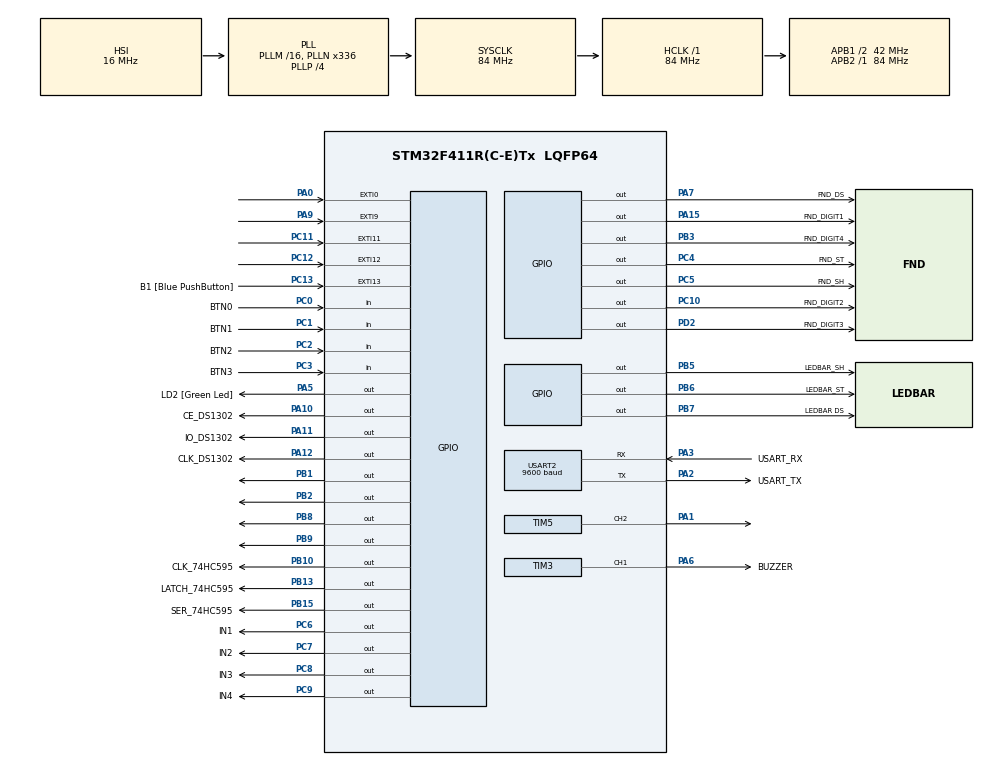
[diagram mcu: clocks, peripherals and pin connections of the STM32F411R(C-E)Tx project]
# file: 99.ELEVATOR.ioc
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FREERTOS.Mutexes01=myMutex01,Dynamic,NULL,Available
FREERTOS.Tasks01=defaultTask,24,128,StartDefaultTask,Default,NULL,Dynamic,NULL,NULL;myTask02,8,128,StartTask02,Default,NULL,Dynamic,NULL,NULL;myTask03,8,128,StartTask03,Default,NULL,Dynamic,NULL,NULL;myTask04,8,128,StartTask04,Default,NULL,Dynamic,NULL,NULL
FREERTOS.configUSE_NEWLIB_REENTRANT=1
Mcu.Family=STM32F4
Mcu.Name=STM32F411R(C-E)Tx
Mcu.Package=LQFP64
NVIC.EXTI0_IRQn=true\:5\:0\:false\:false\:true\:true\:true\:true\:true
NVIC.EXTI15_10_IRQn=true\:5\:0\:false\:false\:true\:true\:true\:true\:true
NVIC.EXTI9_5_IRQn=true\:5\:0\:false\:false\:true\:true\:true\:true\:true
NVIC.PriorityGroup=NVIC_PRIORITYGROUP_4
NVIC.TIM1_TRG_COM_TIM11_IRQn=true\:5\:0\:false\:false\:true\:true\:true\:true\:true
NVIC.TIM1_UP_TIM10_IRQn=true\:15\:0\:false\:false\:true\:false\:false\:true\:true
NVIC.TIM3_IRQn=true\:5\:0\:false\:false\:true\:true\:true\:true\:true
NVIC.TIM5_IRQn=true\:5\:0\:false\:false\:true\:true\:true\:true\:true
NVIC.TimeBase=TIM1_UP_TIM10_IRQn
NVIC.TimeBaseIP=TIM10
NVIC.USART2_IRQn=true\:5\:0\:false\:false\:true\:true\:true\:true\:true
PA0-WKUP.GPIO_ModeDefaultEXTI=GPIO_MODE_IT_RISING
PA0-WKUP.GPIO_PuPd=GPIO_PULLDOWN
PA0-WKUP.Signal=GPXTI0
PA1.Signal=S_TIM5_CH2
PA10.GPIO_Label=CE_DS1302
PA10.Signal=GPIO_Output
PA11.GPIO_Label=IO_DS1302
PA11.Signal=GPIO_Output
PA12.GPIO_Label=CLK_DS1302
PA12.Signal=GPIO_Output
PA13.GPIO_Label=TMS
PA13.Mode=Serial_Wire
PA13.Signal=SYS_JTMS-SWDIO
PA14.GPIO_Label=TCK
PA14.Mode=Serial_Wire
PA14.Signal=SYS_JTCK-SWCLK
PA15.GPIO_Label=FND_DIGIT1
PA15.Signal=GPIO_Output
PA2.GPIO_Label=USART_TX
PA2.Mode=Asynchronous
PA2.Signal=USART2_TX
PA3.GPIO_Label=USART_RX
PA3.Mode=Asynchronous
PA3.Signal=USART2_RX
PA5.GPIO_Label=LD2 [Green Led]
PA5.Signal=GPIO_Output
PA6.GPIO_Label=BUZZER
PA6.Signal=S_TIM3_CH1
PA7.GPIO_Label=FND_DS
PA7.Signal=GPIO_Output
PA9.GPIO_ModeDefaultEXTI=GPIO_MODE_IT_RISING
PA9.GPIO_PuPd=GPIO_PULLDOWN
PA9.Signal=GPXTI9
PB1.Signal=GPIO_Output
PB10.GPIO_Label=CLK_74HC595
PB10.Signal=GPIO_Output
PB13.GPIO_Label=LATCH_74HC595
PB13.Signal=GPIO_Output
PB15.GPIO_Label=SER_74HC595
PB15.Signal=GPIO_Output
PB2.Signal=GPIO_Output
PB3.GPIO_Label=FND_DIGIT4
PB3.Signal=GPIO_Output
PB5.GPIO_Label=LEDBAR_SH
PB5.Signal=GPIO_Output
PB6.GPIO_Label=LEDBAR_ST
PB6.Signal=GPIO_Output
PB7.GPIO_Label=LEDBAR DS
PB7.Signal=GPIO_Output
PB8.Signal=GPIO_Output
PB9.Signal=GPIO_Output
PC0.GPIO_Label=BTN0
PC0.Signal=GPIO_Input
PC1.GPIO_Label=BTN1
PC1.Signal=GPIO_Input
PC10.GPIO_Label=FND_DIGIT2
PC10.Signal=GPIO_Output
PC11.GPIO_PuPd=GPIO_PULLDOWN
PC11.Signal=GPXTI11
PC12.GPIO_PuPd=GPIO_PULLDOWN
PC12.Signal=GPXTI12
PC13-ANTI_TAMP.GPIO_Label=B1 [Blue PushButton]
PC13-ANTI_TAMP.GPIO_ModeDefaultEXTI=GPIO_MODE_IT_RISING
PC13-ANTI_TAMP.GPIO_PuPd=GPIO_PULLDOWN
PC13-ANTI_TAMP.Signal=GPXTI13
PC14-OSC32_IN.Mode=LSE-External-Oscillator
PC14-OSC32_IN.Signal=RCC_OSC32_IN
PC15-OSC32_OUT.Mode=LSE-External-Oscillator
PC15-OSC32_OUT.Signal=RCC_OSC32_OUT
PC2.GPIO_Label=BTN2
PC2.Signal=GPIO_Input
PC3.GPIO_Label=BTN3
PC3.Signal=GPIO_Input
PC4.GPIO_Label=FND_ST
PC4.Signal=GPIO_Output
PC5.GPIO_Label=FND_SH
PC5.Signal=GPIO_Output
PC6.GPIO_Label=IN1
PC6.Signal=GPIO_Output
PC7.GPIO_Label=IN2
PC7.Signal=GPIO_Output
PC8.GPIO_Label=IN3
PC8.Signal=GPIO_Output
PC9.GPIO_Label=IN4
PC9.Signal=GPIO_Output
PD2.GPIO_Label=FND_DIGIT3
PD2.Signal=GPIO_Output
PH0\ -\ OSC_IN.Mode=HSE-External-Clock-Source
PH0\ -\ OSC_IN.Signal=RCC_OSC_IN
PH1\ -\ OSC_OUT.Mode=HSE-External-Clock-Source
PH1\ -\ OSC_OUT.Signal=RCC_OSC_OUT
ProjectManager.HeapSize=0x200
ProjectManager.StackSize=0x400
ProjectManager.TargetToolchain=STM32CubeIDE
RCC.48MHZClocksFreq_Value=84000000
RCC.AHBFreq_Value=84000000
RCC.APB1CLKDivider=RCC_HCLK_DIV2
RCC.APB1Freq_Value=42000000
RCC.APB1TimFreq_Value=84000000
RCC.APB2Freq_Value=84000000
RCC.APB2TimFreq_Value=84000000
RCC.CortexFreq_Value=84000000
RCC.FLatency-AdvancedSettings=FLASH_LATENCY_2
RCC.HCLKFreq_Value=84000000
RCC.HSE_VALUE=8000000
RCC.HSI_VALUE=16000000
RCC.PLLN=336
RCC.PLLP=RCC_PLLP_DIV4
RCC.SYSCLKFreq_VALUE=84000000
RCC.SYSCLKSource=RCC_SYSCLKSOURCE_PLLCLK
RCC.VCOOutputFreq_Value=336000000
SH.S_TIM3_CH1.0=TIM3_CH1,PWM Generation1 CH1
SH.S_TIM5_CH2.0=TIM5_CH2,PWM Generation2 CH2
TIM11.Period=1000-1
TIM11.Prescaler=84-1
TIM2.Prescaler=84-1
TIM3.Channel-PWM\ Generation1\ CH1=TIM_CHANNEL_1
TIM3.Period=400-1
TIM3.Prescaler=52.5-1
TIM3.Pulse-PWM\ Generation1\ CH1=200-1
TIM5.Channel-PWM\ Generation2\ CH2=TIM_CHANNEL_2
TIM5.Period=1000-1
TIM5.Prescaler=1680-1
USART2.BaudRate=9600
USART2.VirtualMode=VM_ASYNC
VP_FREERTOS_VS_CMSIS_V2.Mode=CMSIS_V2
VP_SYS_VS_tim10.Mode=TIM10
VP_TIM11_VS_ClockSourceINT.Mode=Enable_Timer
VP_TIM2_VS_ClockSourceINT.Mode=Internal
VP_TIM3_VS_ClockSourceINT.Mode=Internal
VP_TIM5_VS_ClockSourceINT.Mode=Internal
board=NUCLEO-F411RE

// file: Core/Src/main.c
/* USER CODE BEGIN Header */
/**
  ******************************************************************************
  * @file           : main.c
  * @brief          : Main program body
  ******************************************************************************
  * @attention
  *
  * Copyright (c) 2025 STMicroelectronics.
  * All rights reserved.
  *
  * This software is licensed under terms that can be found in the LICENSE file
  * in the root directory of this software component.
  * If no LICENSE file comes with this software, it is provided AS-IS.
  *
  ******************************************************************************
  */
/* USER CODE END Header */
#include "main.h"
#include "cmsis_os.h"

/* USER CODE BEGIN Includes */

#include "extern.h"

#include "elevator.h"

#include "led.h"
#include "dotmatrix.h"
#include "button.h"
#include "ds1302.h"
#include "dh11.h"
#include "i2c_lcd.h"
#include "stepmotor.h"
#include "fnd.h"
#include "buzzer.h"

/* USER CODE END Includes */

TIM_HandleTypeDef htim2;
TIM_HandleTypeDef htim3;
TIM_HandleTypeDef htim5;
TIM_HandleTypeDef htim11;

UART_HandleTypeDef huart2;

/* Definitions for defaultTask */
osThreadId_t defaultTaskHandle;
const osThreadAttr_t defaultTask_attributes = {
  .name = "defaultTask",
  .stack_size = 128 * 4,
  .priority = (osPriority_t) osPriorityNormal,
};
/* Definitions for myTask02 */
osThreadId_t myTask02Handle;
const osThreadAttr_t myTask02_attributes = {
  .name = "myTask02",
  .stack_size = 128 * 4,
  .priority = (osPriority_t) osPriorityLow,
};
/* Definitions for myTask03 */
osThreadId_t myTask03Handle;
const osThreadAttr_t myTask03_attributes = {
  .name = "myTask03",
  .stack_size = 128 * 4,
  .priority = (osPriority_t) osPriorityLow,
};
/* Definitions for myTask04 */
osThreadId_t myTask04Handle;
const osThreadAttr_t myTask04_attributes = {
  .name = "myTask04",
  .stack_size = 128 * 4,
  .priority = (osPriority_t) osPriorityLow,
};
/* Definitions for myMutex01 */
osMutexId_t myMutex01Handle;
const osMutexAttr_t myMutex01_attributes = {
  .name = "myMutex01"
};
/* USER CODE BEGIN PV */

uint8_t rx_data; // uart2 rx byte

volatile int TIM11_1ms_counter;

volatile int TIM11_1ms_delay_counter[MODULE_MAX];

// todo temp
volatile int TIM11_line0;
volatile int TIM11_line1;

/* USER CODE END PV */

void SystemClock_Config(void);
static void MX_GPIO_Init(void);
static void MX_USART2_UART_Init(void);
static void MX_TIM11_Init(void);
static void MX_TIM2_Init(void);
static void MX_TIM3_Init(void);
static void MX_TIM5_Init(void);
void StartDefaultTask(void *argument);
void StartTask02(void *argument);
void StartTask03(void *argument);
void StartTask04(void *argument);

/* USER CODE BEGIN 0 */
#ifdef __GNUC__    // Add for printf
/* With GCC, small printf (option LD Linker->Libraries->Small printf
   set to 'Yes') calls __io_putchar() */
#define PUTCHAR_PROTOTYPE int __io_putchar(int ch)
#else
#define PUTCHAR_PROTOTYPE int fputc(int ch, FILE *f)
#endif /* __GNUC__ */
/**
  * @brief  Retargets the C library printf function to the USART.
  * @param  None
  * @retval None
  */
PUTCHAR_PROTOTYPE   // Add for printf
{
  /* Place your implementation of fputc here */
  /* e.g. write a character to the USART3 and Loop until the end of transmission */
  HAL_UART_Transmit(&huart2, (uint8_t *)&ch, 1, 0xFFFF);

  return ch;
}

/* USER CODE END 0 */

int main(void)
{

  /* MCU Configuration--------------------------------------------------------*/

  /* Reset of all peripherals, Initializes the Flash interface and the Systick. */
  HAL_Init();

  /* Configure the system clock */
  SystemClock_Config();

  /* Initialize all configured peripherals */
  MX_GPIO_Init();
  MX_USART2_UART_Init();
  MX_TIM11_Init();
  MX_TIM2_Init();
  MX_TIM3_Init();
  MX_TIM5_Init();
  /* USER CODE BEGIN 2 */

  buzzer_init();
  ledbar_init();
  button_init();
  elevator_init();
  fnd_init();
  init_ds1302();
  //init_dht11();
  init_dotmatrix_pin();

  HAL_UART_Receive_IT(&huart2, &rx_data, 1); // receive a time one byte
  HAL_TIM_Base_Start_IT(&htim11);
  HAL_TIM_Base_Start_IT(&htim2); //timer 2 start for delay_us

  i2c_lcd_init();
  //buzzer_main();
  //stepmotor_main();
  //servo_motor_main();
  //i2c_lcd_main();
  //ds1302_main();
  //dh11_main();

  /* USER CODE END 2 */

  /* Init scheduler */
  osKernelInitialize();
  /* Create the mutex(es) */
  /* creation of myMutex01 */
  myMutex01Handle = osMutexNew(&myMutex01_attributes);

  /* Create the thread(s) */
  /* creation of defaultTask */
  defaultTaskHandle = osThreadNew(StartDefaultTask, NULL, &defaultTask_attributes);

  /* creation of myTask02 */
  myTask02Handle = osThreadNew(StartTask02, NULL, &myTask02_attributes);

  /* creation of myTask03 */
  myTask03Handle = osThreadNew(StartTask03, NULL, &myTask03_attributes);

  /* creation of myTask04 */
  myTask04Handle = osThreadNew(StartTask04, NULL, &myTask04_attributes);

  /* Start scheduler */
  osKernelStart();

  /* We should never get here as control is now taken by the scheduler */

  /* Infinite loop */
  while (1)
  {

  }
}

void SystemClock_Config(void)
{
  RCC_OscInitTypeDef RCC_OscInitStruct = {0};
  RCC_ClkInitTypeDef RCC_ClkInitStruct = {0};

  /** Configure the main internal regulator output voltage
  */
  __HAL_RCC_PWR_CLK_ENABLE();
  __HAL_PWR_VOLTAGESCALING_CONFIG(PWR_REGULATOR_VOLTAGE_SCALE1);

  /** Initializes the RCC Oscillators according to the specified parameters
  * in the RCC_OscInitTypeDef structure.
  */
  RCC_OscInitStruct.OscillatorType = RCC_OSCILLATORTYPE_HSI;
  RCC_OscInitStruct.HSIState = RCC_HSI_ON;
  RCC_OscInitStruct.HSICalibrationValue = RCC_HSICALIBRATION_DEFAULT;
  RCC_OscInitStruct.PLL.PLLState = RCC_PLL_ON;
  RCC_OscInitStruct.PLL.PLLSource = RCC_PLLSOURCE_HSI;
  RCC_OscInitStruct.PLL.PLLM = 16;
  RCC_OscInitStruct.PLL.PLLN = 336;
  RCC_OscInitStruct.PLL.PLLP = RCC_PLLP_DIV4;
  RCC_OscInitStruct.PLL.PLLQ = 4;
  if (HAL_RCC_OscConfig(&RCC_OscInitStruct) != HAL_OK)
  {
    Error_Handler();
  }

  /** Initializes the CPU, AHB and APB buses clocks
  */
  RCC_ClkInitStruct.ClockType = RCC_CLOCKTYPE_HCLK|RCC_CLOCKTYPE_SYSCLK
                              |RCC_CLOCKTYPE_PCLK1|RCC_CLOCKTYPE_PCLK2;
  RCC_ClkInitStruct.SYSCLKSource = RCC_SYSCLKSOURCE_PLLCLK;
  RCC_ClkInitStruct.AHBCLKDivider = RCC_SYSCLK_DIV1;
  RCC_ClkInitStruct.APB1CLKDivider = RCC_HCLK_DIV2;
  RCC_ClkInitStruct.APB2CLKDivider = RCC_HCLK_DIV1;

  if (HAL_RCC_ClockConfig(&RCC_ClkInitStruct, FLASH_LATENCY_2) != HAL_OK)
  {
    Error_Handler();
  }
}

static void MX_TIM2_Init(void)
{

  TIM_ClockConfigTypeDef sClockSourceConfig = {0};
  TIM_MasterConfigTypeDef sMasterConfig = {0};

  htim2.Instance = TIM2;
  htim2.Init.Prescaler = 84-1;
  htim2.Init.CounterMode = TIM_COUNTERMODE_UP;
  htim2.Init.Period = 4294967295;
  htim2.Init.ClockDivision = TIM_CLOCKDIVISION_DIV1;
  htim2.Init.AutoReloadPreload = TIM_AUTORELOAD_PRELOAD_DISABLE;
  if (HAL_TIM_Base_Init(&htim2) != HAL_OK)
  {
    Error_Handler();
  }
  sClockSourceConfig.ClockSource = TIM_CLOCKSOURCE_INTERNAL;
  if (HAL_TIM_ConfigClockSource(&htim2, &sClockSourceConfig) != HAL_OK)
  {
    Error_Handler();
  }
  sMasterConfig.MasterOutputTrigger = TIM_TRGO_RESET;
  sMasterConfig.MasterSlaveMode = TIM_MASTERSLAVEMODE_DISABLE;
  if (HAL_TIMEx_MasterConfigSynchronization(&htim2, &sMasterConfig) != HAL_OK)
  {
    Error_Handler();
  }

}

static void MX_TIM3_Init(void)
{

  TIM_ClockConfigTypeDef sClockSourceConfig = {0};
  TIM_MasterConfigTypeDef sMasterConfig = {0};
  TIM_OC_InitTypeDef sConfigOC = {0};

  htim3.Instance = TIM3;
  htim3.Init.Prescaler = 52.5-1;
  htim3.Init.CounterMode = TIM_COUNTERMODE_UP;
  htim3.Init.Period = 400-1;
  htim3.Init.ClockDivision = TIM_CLOCKDIVISION_DIV1;
  htim3.Init.AutoReloadPreload = TIM_AUTORELOAD_PRELOAD_DISABLE;
  if (HAL_TIM_Base_Init(&htim3) != HAL_OK)
  {
    Error_Handler();
  }
  sClockSourceConfig.ClockSource = TIM_CLOCKSOURCE_INTERNAL;
  if (HAL_TIM_ConfigClockSource(&htim3, &sClockSourceConfig) != HAL_OK)
  {
    Error_Handler();
  }
  if (HAL_TIM_PWM_Init(&htim3) != HAL_OK)
  {
    Error_Handler();
  }
  sMasterConfig.MasterOutputTrigger = TIM_TRGO_RESET;
  sMasterConfig.MasterSlaveMode = TIM_MASTERSLAVEMODE_DISABLE;
  if (HAL_TIMEx_MasterConfigSynchronization(&htim3, &sMasterConfig) != HAL_OK)
  {
    Error_Handler();
  }
  sConfigOC.OCMode = TIM_OCMODE_PWM1;
  sConfigOC.Pulse = 200-1;
  sConfigOC.OCPolarity = TIM_OCPOLARITY_HIGH;
  sConfigOC.OCFastMode = TIM_OCFAST_DISABLE;
  if (HAL_TIM_PWM_ConfigChannel(&htim3, &sConfigOC, TIM_CHANNEL_1) != HAL_OK)
  {
    Error_Handler();
  }
  HAL_TIM_MspPostInit(&htim3);

}

static void MX_TIM5_Init(void)
{

  TIM_ClockConfigTypeDef sClockSourceConfig = {0};
  TIM_MasterConfigTypeDef sMasterConfig = {0};
  TIM_OC_InitTypeDef sConfigOC = {0};

  htim5.Instance = TIM5;
  htim5.Init.Prescaler = 1680-1;
  htim5.Init.CounterMode = TIM_COUNTERMODE_UP;
  htim5.Init.Period = 1000-1;
  htim5.Init.ClockDivision = TIM_CLOCKDIVISION_DIV1;
  htim5.Init.AutoReloadPreload = TIM_AUTORELOAD_PRELOAD_DISABLE;
  if (HAL_TIM_Base_Init(&htim5) != HAL_OK)
  {
    Error_Handler();
  }
  sClockSourceConfig.ClockSource = TIM_CLOCKSOURCE_INTERNAL;
  if (HAL_TIM_ConfigClockSource(&htim5, &sClockSourceConfig) != HAL_OK)
  {
    Error_Handler();
  }
  if (HAL_TIM_PWM_Init(&htim5) != HAL_OK)
  {
    Error_Handler();
  }
  sMasterConfig.MasterOutputTrigger = TIM_TRGO_RESET;
  sMasterConfig.MasterSlaveMode = TIM_MASTERSLAVEMODE_DISABLE;
  if (HAL_TIMEx_MasterConfigSynchronization(&htim5, &sMasterConfig) != HAL_OK)
  {
    Error_Handler();
  }
  sConfigOC.OCMode = TIM_OCMODE_PWM1;
  sConfigOC.Pulse = 0;
  sConfigOC.OCPolarity = TIM_OCPOLARITY_HIGH;
  sConfigOC.OCFastMode = TIM_OCFAST_DISABLE;
  if (HAL_TIM_PWM_ConfigChannel(&htim5, &sConfigOC, TIM_CHANNEL_2) != HAL_OK)
  {
    Error_Handler();
  }
  HAL_TIM_MspPostInit(&htim5);

}

static void MX_TIM11_Init(void)
{

  htim11.Instance = TIM11;
  htim11.Init.Prescaler = 84-1;
  htim11.Init.CounterMode = TIM_COUNTERMODE_UP;
  htim11.Init.Period = 1000-1;
  htim11.Init.ClockDivision = TIM_CLOCKDIVISION_DIV1;
  htim11.Init.AutoReloadPreload = TIM_AUTORELOAD_PRELOAD_DISABLE;
  if (HAL_TIM_Base_Init(&htim11) != HAL_OK)
  {
    Error_Handler();
  }

}

static void MX_USART2_UART_Init(void)
{

  huart2.Instance = USART2;
  huart2.Init.BaudRate = 9600;
  huart2.Init.WordLength = UART_WORDLENGTH_8B;
  huart2.Init.StopBits = UART_STOPBITS_1;
  huart2.Init.Parity = UART_PARITY_NONE;
  huart2.Init.Mode = UART_MODE_TX_RX;
  huart2.Init.HwFlowCtl = UART_HWCONTROL_NONE;
  huart2.Init.OverSampling = UART_OVERSAMPLING_16;
  if (HAL_UART_Init(&huart2) != HAL_OK)
  {
    Error_Handler();
  }

}

static void MX_GPIO_Init(void)
{
  GPIO_InitTypeDef GPIO_InitStruct = {0};

  /* GPIO Ports Clock Enable */
  __HAL_RCC_GPIOC_CLK_ENABLE();
  __HAL_RCC_GPIOH_CLK_ENABLE();
  __HAL_RCC_GPIOA_CLK_ENABLE();
  __HAL_RCC_GPIOB_CLK_ENABLE();
  __HAL_RCC_GPIOD_CLK_ENABLE();

  /*Configure GPIO pin Output Level */
  HAL_GPIO_WritePin(GPIOA, LD2_Pin|FND_DS_Pin|CE_DS1302_Pin|IO_DS1302_Pin
                          |CLK_DS1302_Pin|FND_DIGIT1_Pin, GPIO_PIN_RESET);

  /*Configure GPIO pin Output Level */
  HAL_GPIO_WritePin(GPIOC, FND_ST_Pin|FND_SH_Pin|IN1_Pin|IN2_Pin
                          |IN3_Pin|IN4_Pin|FND_DIGIT2_Pin, GPIO_PIN_RESET);

  /*Configure GPIO pin Output Level */
  HAL_GPIO_WritePin(GPIOB, GPIO_PIN_1|GPIO_PIN_2|CLK_74HC595_Pin|LATCH_74HC595_Pin
                          |SER_74HC595_Pin|FND_DIGIT4_Pin|LEDBAR_SH_Pin|LEDBAR_ST_Pin
                          |LEDBAR_DS_Pin|GPIO_PIN_8|GPIO_PIN_9, GPIO_PIN_RESET);

  /*Configure GPIO pin Output Level */
  HAL_GPIO_WritePin(FND_DIGIT3_GPIO_Port, FND_DIGIT3_Pin, GPIO_PIN_RESET);

  /*Configure GPIO pins : B1_Pin PC11 PC12 */
  GPIO_InitStruct.Pin = B1_Pin|GPIO_PIN_11|GPIO_PIN_12;
  GPIO_InitStruct.Mode = GPIO_MODE_IT_RISING;
  GPIO_InitStruct.Pull = GPIO_PULLDOWN;
  HAL_GPIO_Init(GPIOC, &GPIO_InitStruct);

  /*Configure GPIO pins : BTN0_Pin BTN1_Pin BTN2_Pin BTN3_Pin */
  GPIO_InitStruct.Pin = BTN0_Pin|BTN1_Pin|BTN2_Pin|BTN3_Pin;
  GPIO_InitStruct.Mode = GPIO_MODE_INPUT;
  GPIO_InitStruct.Pull = GPIO_NOPULL;
  HAL_GPIO_Init(GPIOC, &GPIO_InitStruct);

  /*Configure GPIO pins : PA0 PA9 */
  GPIO_InitStruct.Pin = GPIO_PIN_0|GPIO_PIN_9;
  GPIO_InitStruct.Mode = GPIO_MODE_IT_RISING;
  GPIO_InitStruct.Pull = GPIO_PULLDOWN;
  HAL_GPIO_Init(GPIOA, &GPIO_InitStruct);

  /*Configure GPIO pins : LD2_Pin FND_DS_Pin CE_DS1302_Pin IO_DS1302_Pin
                           CLK_DS1302_Pin FND_DIGIT1_Pin */
  GPIO_InitStruct.Pin = LD2_Pin|FND_DS_Pin|CE_DS1302_Pin|IO_DS1302_Pin
                          |CLK_DS1302_Pin|FND_DIGIT1_Pin;
  GPIO_InitStruct.Mode = GPIO_MODE_OUTPUT_PP;
  GPIO_InitStruct.Pull = GPIO_NOPULL;
  GPIO_InitStruct.Speed = GPIO_SPEED_FREQ_LOW;
  HAL_GPIO_Init(GPIOA, &GPIO_InitStruct);

  /*Configure GPIO pins : FND_ST_Pin FND_SH_Pin IN1_Pin IN2_Pin
                           IN3_Pin IN4_Pin FND_DIGIT2_Pin */
  GPIO_InitStruct.Pin = FND_ST_Pin|FND_SH_Pin|IN1_Pin|IN2_Pin
                          |IN3_Pin|IN4_Pin|FND_DIGIT2_Pin;
  GPIO_InitStruct.Mode = GPIO_MODE_OUTPUT_PP;
  GPIO_InitStruct.Pull = GPIO_NOPULL;
  GPIO_InitStruct.Speed = GPIO_SPEED_FREQ_LOW;
  HAL_GPIO_Init(GPIOC, &GPIO_InitStruct);

  /*Configure GPIO pins : PB1 PB2 CLK_74HC595_Pin LATCH_74HC595_Pin
                           SER_74HC595_Pin FND_DIGIT4_Pin LEDBAR_SH_Pin LEDBAR_ST_Pin
                           LEDBAR_DS_Pin PB8 PB9 */
  GPIO_InitStruct.Pin = GPIO_PIN_1|GPIO_PIN_2|CLK_74HC595_Pin|LATCH_74HC595_Pin
                          |SER_74HC595_Pin|FND_DIGIT4_Pin|LEDBAR_SH_Pin|LEDBAR_ST_Pin
                          |LEDBAR_DS_Pin|GPIO_PIN_8|GPIO_PIN_9;
  GPIO_InitStruct.Mode = GPIO_MODE_OUTPUT_PP;
  GPIO_InitStruct.Pull = GPIO_NOPULL;
  GPIO_InitStruct.Speed = GPIO_SPEED_FREQ_LOW;
  HAL_GPIO_Init(GPIOB, &GPIO_InitStruct);

  /*Configure GPIO pin : FND_DIGIT3_Pin */
  GPIO_InitStruct.Pin = FND_DIGIT3_Pin;
  GPIO_InitStruct.Mode = GPIO_MODE_OUTPUT_PP;
  GPIO_InitStruct.Pull = GPIO_NOPULL;
  GPIO_InitStruct.Speed = GPIO_SPEED_FREQ_LOW;
  HAL_GPIO_Init(FND_DIGIT3_GPIO_Port, &GPIO_InitStruct);

  /* EXTI interrupt init*/
  HAL_NVIC_SetPriority(EXTI0_IRQn, 5, 0);
  HAL_NVIC_EnableIRQ(EXTI0_IRQn);

  HAL_NVIC_SetPriority(EXTI9_5_IRQn, 5, 0);
  HAL_NVIC_EnableIRQ(EXTI9_5_IRQn);

  HAL_NVIC_SetPriority(EXTI15_10_IRQn, 5, 0);
  HAL_NVIC_EnableIRQ(EXTI15_10_IRQn);

}

void StartDefaultTask(void *argument)
{
  /* USER CODE BEGIN 5 */
  /* Infinite loop */
  for(;;)
  {
	//button_led_toggle_test();

    //move_cursor(0,0);
	//lcd_string("zzzsd");
	elevator_run();
    osDelay(1);
  }
  /* USER CODE END 5 */
}

void StartTask02(void *argument)
{
  /* USER CODE BEGIN StartTask02 */
  /* Infinite loop */
  for(;;)
  {

	elevator_tick();
	elevator_update();

	// mutex lock
	// mutex handle, timeout
/*	if(osMutexWait(myMutex01Handle, 1000) == osOK) {

		// success lock
		//i2c_lcd_display_line0();

		// unlock
		osMutexRelease(myMutex01Handle);
	}*/
    osDelay(1);
  }
  /* USER CODE END StartTask02 */
}

void StartTask03(void *argument)
{
  /* USER CODE BEGIN StartTask03 */
  /* Infinite loop */
  for(;;)
  {

	 elevator_print();
     osDelay(800);
	//stepmotor_main();
	// mutex lock
	// mutex handle, timeout
/*	if(osMutexWait(myMutex01Handle, 1000) == osOK) {

		// success lock
		//i2c_lcd_display_line1();

		// unlock
		osMutexRelease(myMutex01Handle);
	}*/

	osDelay(1);
  }
  /* USER CODE END StartTask03 */
}

void StartTask04(void *argument)
{
  /* USER CODE BEGIN StartTask04 */
  /* Infinite loop */
  for(;;)
  {
	render_dotmatrix();
    osDelay(1);
  }
  /* USER CODE END StartTask04 */
}

void HAL_TIM_PeriodElapsedCallback(TIM_HandleTypeDef *htim)
{
  if (htim->Instance == TIM10)
  {
    HAL_IncTick();
  }
  /* USER CODE BEGIN Callback 1 */
  if (htim->Instance == TIM11)
  {
	  TIM11_1ms_counter++;

	  TIM11_line0++;
	  TIM11_line1++;

	  if(TIM11_1ms_delay_counter[MODULE_LCD]) {
		  --TIM11_1ms_delay_counter[MODULE_LCD];
	  }

	  if(TIM11_1ms_delay_counter[MODULE_BUZZER]) {
		  --TIM11_1ms_delay_counter[MODULE_BUZZER];
	  }

	  if(TIM11_1ms_delay_counter[MODULE_STEPMOTOR]) {
		  --TIM11_1ms_delay_counter[MODULE_STEPMOTOR];
	  }

	  if(TIM11_1ms_delay_counter[MODULE_DS1302]) {
		  --TIM11_1ms_delay_counter[MODULE_DS1302];
	  }

  /*	  if(TIM11_1ms_delay_counter[MODULE_LCD]) {
		  --TIM11_1ms_delay_counter[MODULE_LCD];
	  }*/

  }

  /* USER CODE END Callback 1 */
}

void Error_Handler(void)
{
  __disable_irq();
  while (1)
  {
  }
}
